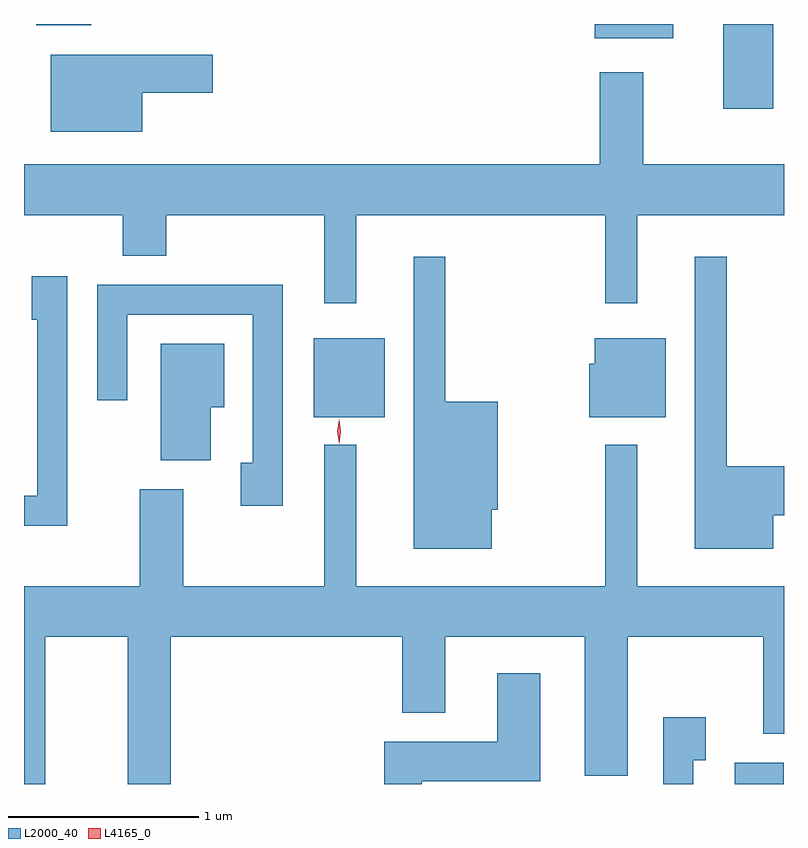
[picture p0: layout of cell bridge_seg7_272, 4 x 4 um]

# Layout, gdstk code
import gdstk
lib = gdstk.Library(unit=1e-6, precision=1e-09)
def R(c, l, rs):  # rectangles x0, y0, x1, y1
    for r in rs: c.add(gdstk.rectangle(r[:2], r[2:], *l))
def P(c, l, *ps):  # polygons
    for p in ps: c.add(gdstk.Polygon(p, *l))
L2000_40 = (2000, 40)
L4165_0 = (4165, 0)

bridge_seg7_272 = lib.new_cell('bridge_seg7_272')
R(bridge_seg7_272, L2000_40, [(1264.981,1771.262,1265.239,1771.374), (1262.766,1773.191,1263.139,1773.609), (1264.921,1774.816,1265.184,1775.262), (1264.246,1775.186,1264.659,1775.262), (1261.306,1775.256,1261.594,1775.262)])
P(bridge_seg7_272, L2000_40, [(1261.864,1774.901),(1262.234,1774.901),(1262.234,1775.099),(1261.381,1775.099),(1261.381,1774.696),(1261.864,1774.696)],
  [(1262.989,1774.256),(1264.301,1774.256),(1264.301,1773.793),(1264.469,1773.793),(1264.469,1774.256),(1265.241,1774.256),(1265.241,1774.524),(1264.499,1774.524),(1264.499,1775.009),(1264.271,1775.009),(1264.271,1774.524),(1261.241,1774.524),(1261.241,1774.256),(1261.761,1774.256),(1261.761,1774.041),(1261.989,1774.041),(1261.989,1774.256),(1262.821,1774.256),(1262.821,1773.793),(1262.989,1773.793)],
  [(1263.704,1772.706),(1263.734,1772.706),(1263.734,1773.274),(1263.459,1773.274),(1263.459,1774.038),(1263.291,1774.038),(1263.291,1772.501),(1263.704,1772.501)],
  [(1265.184,1772.676),(1265.241,1772.676),(1265.241,1772.934),(1264.939,1772.934),(1264.939,1774.038),(1264.771,1774.038),(1264.771,1772.501),(1265.184,1772.501)],
  [(1261.469,1773.934),(1261.281,1773.934),(1261.281,1773.706),(1261.311,1773.706),(1261.311,1772.779),(1261.241,1772.779),(1261.241,1772.621),(1261.469,1772.621)],
  [(1262.604,1773.889),(1261.626,1773.889),(1261.626,1773.283),(1261.784,1773.283),(1261.784,1773.731),(1262.446,1773.731),(1262.446,1772.954),(1262.381,1772.954),(1262.381,1772.726),(1262.604,1772.726)],
  [(1264.619,1773.609),(1264.246,1773.609),(1264.246,1773.474),(1264.216,1773.474),(1264.216,1773.191),(1264.619,1773.191)],
  [(1262.224,1773.246),(1262.294,1773.246),(1262.294,1773.579),(1261.961,1773.579),(1261.961,1772.966),(1262.224,1772.966)],
  [(1261.354,1772.036),(1261.786,1772.036),(1261.786,1771.262),(1262.014,1771.262),(1262.014,1772.036),(1263.231,1772.036),(1263.231,1771.636),(1263.459,1771.636),(1263.459,1772.036),(1264.191,1772.036),(1264.191,1771.306),(1264.419,1771.306),(1264.419,1772.036),(1265.131,1772.036),(1265.131,1771.526),(1265.241,1771.526),(1265.241,1772.304),(1264.469,1772.304),(1264.469,1773.048),(1264.301,1773.048),(1264.301,1772.304),(1262.989,1772.304),(1262.989,1773.048),(1262.821,1773.048),(1262.821,1772.304),(1262.079,1772.304),(1262.079,1772.814),(1261.851,1772.814),(1261.851,1772.304),(1261.241,1772.304),(1261.241,1771.262),(1261.354,1771.262)],
  [(1263.334,1771.276),(1263.959,1771.276),(1263.959,1771.844),(1263.731,1771.844),(1263.731,1771.484),(1263.136,1771.484),(1263.136,1771.262),(1263.334,1771.262)],
  [(1264.764,1771.386),(1264.829,1771.386),(1264.829,1771.614),(1264.606,1771.614),(1264.606,1771.262),(1264.764,1771.262)])
P(bridge_seg7_272, L4165_0, [(1262.899,1773.052),(1262.899,1773.053),(1262.889,1773.117),(1262.899,1773.181),(1262.899,1773.182),(1262.9,1773.181),(1262.909,1773.117),(1262.9,1773.053)])

lib.write_gds('bridge_seg7_272.gds')
